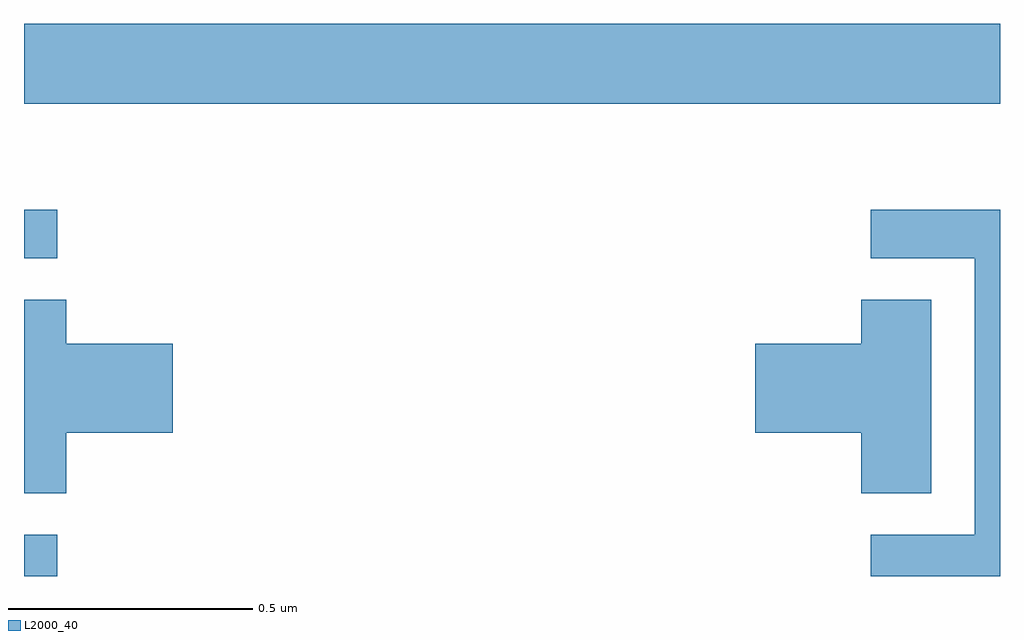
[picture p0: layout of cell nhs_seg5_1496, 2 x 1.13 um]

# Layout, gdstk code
import gdstk
lib = gdstk.Library(unit=1e-6, precision=1e-09)
def R(c, l, rs):  # rectangles x0, y0, x1, y1
    for r in rs: c.add(gdstk.rectangle(r[:2], r[2:], *l))
def P(c, l, *ps):  # polygons
    for p in ps: c.add(gdstk.Polygon(p, *l))
L2000_40 = (2000, 40)

nhs_seg5_1496 = lib.new_cell('nhs_seg5_1496')
R(nhs_seg5_1496, L2000_40, [(131,847.799,131.068,847.884), (131,848.451,131.068,848.55), (131,848.768,133,848.932)])
P(nhs_seg5_1496, L2000_40, [(133,848.55),(132.735,848.55),(132.735,848.451),(132.948,848.451),(132.948,847.884),(132.735,847.884),(132.735,847.799),(133,847.799)],
  [(132.859,848.366),(132.716,848.366),(132.716,848.276),(132.498,848.276),(132.498,848.093),(132.716,848.093),(132.716,847.969),(132.859,847.969)],
  [(131.087,848.093),(131.305,848.093),(131.305,848.276),(131.087,848.276),(131.087,848.366),(131,848.366),(131,847.969),(131.087,847.969)])

lib.write_gds('nhs_seg5_1496.gds')
